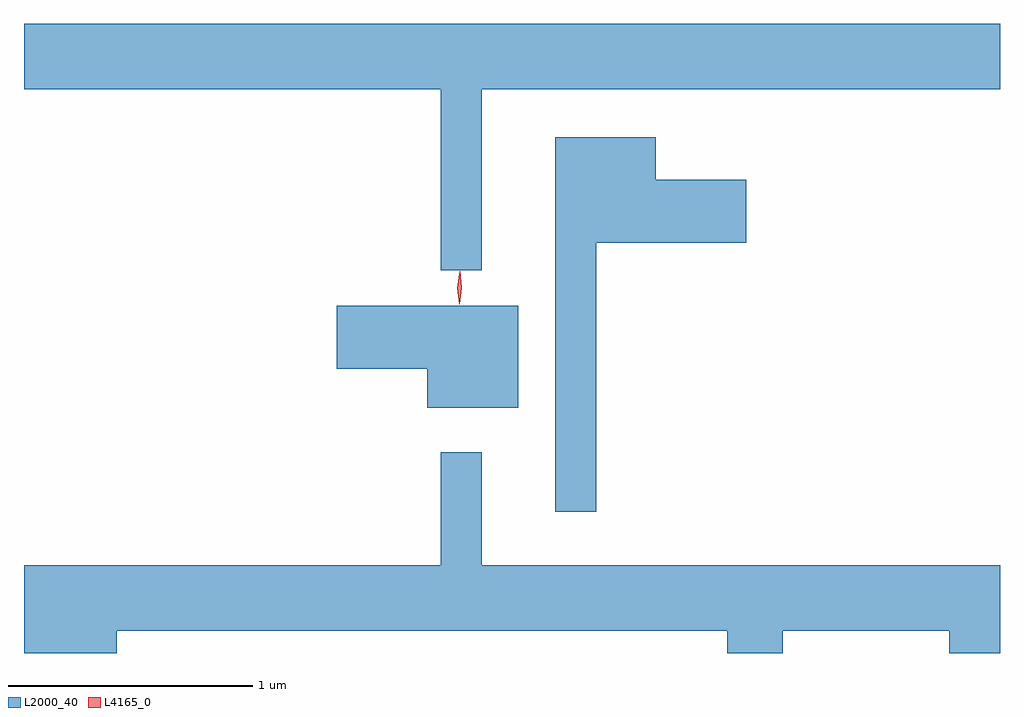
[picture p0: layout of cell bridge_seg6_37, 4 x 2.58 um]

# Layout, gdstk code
import gdstk
lib = gdstk.Library(unit=1e-6, precision=1e-09)
def P(c, l, *ps):  # polygons
    for p in ps: c.add(gdstk.Polygon(p, *l))
L2000_40 = (2000, 40)
L4165_0 = (4165, 0)

bridge_seg6_37 = lib.new_cell('bridge_seg6_37')
P(bridge_seg6_37, L2000_40, [(1597.469,1647.716),(1599.594,1647.716),(1599.594,1647.984),(1595.594,1647.984),(1595.594,1647.716),(1597.301,1647.716),(1597.301,1646.973),(1597.469,1646.973)],
  [(1597.939,1647.086),(1598.554,1647.086),(1598.554,1647.344),(1598.184,1647.344),(1598.184,1647.519),(1597.771,1647.519),(1597.771,1645.983),(1597.939,1645.983)],
  [(1597.619,1646.829),(1596.876,1646.829),(1596.876,1646.571),(1597.246,1646.571),(1597.246,1646.411),(1597.619,1646.411)],
  [(1595.974,1645.496),(1598.476,1645.496),(1598.476,1645.404),(1598.704,1645.404),(1598.704,1645.496),(1599.386,1645.496),(1599.386,1645.404),(1599.594,1645.404),(1599.594,1645.764),(1597.469,1645.764),(1597.469,1646.228),(1597.301,1646.228),(1597.301,1645.764),(1595.594,1645.764),(1595.594,1645.404),(1595.974,1645.404)])
P(bridge_seg6_37, L4165_0, [(1597.378,1646.834),(1597.369,1646.902),(1597.38,1646.97),(1597.38,1646.97),(1597.381,1646.97),(1597.389,1646.902),(1597.379,1646.834),(1597.379,1646.834)],
  [(1597.378,1646.84),(1597.378,1646.841),(1597.369,1646.904),(1597.38,1646.966),(1597.38,1646.967),(1597.381,1646.966),(1597.389,1646.904),(1597.379,1646.841)])

lib.write_gds('bridge_seg6_37.gds')
